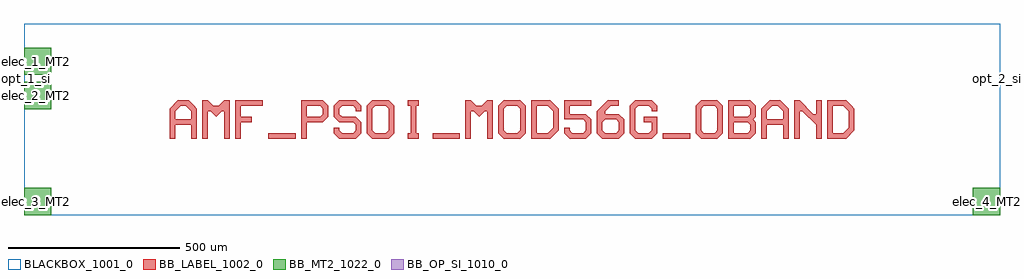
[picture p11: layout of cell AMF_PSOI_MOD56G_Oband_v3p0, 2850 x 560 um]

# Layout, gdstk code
import gdstk
lib = gdstk.Library(unit=1e-6, precision=1e-09)
def R(c, l, rs):  # rectangles x0, y0, x1, y1
    for r in rs: c.add(gdstk.rectangle(r[:2], r[2:], *l))
def P(c, l, *ps):  # polygons
    for p in ps: c.add(gdstk.Polygon(p, *l))
BLACKBOX_1001_0 = (1001, 0)
BB_LABEL_1002_0 = (1002, 0)
BB_OP_SI_1010_0 = (1010, 0)
BB_MT2_1022_0 = (1022, 0)

amf_psoi_mod56g_oband_v3 = lib.new_cell('AMF_PSOI_MOD56G_Oband_v3p0')
R(amf_psoi_mod56g_oband_v3, BLACKBOX_1001_0, [(0,-400,2850,160)])
R(amf_psoi_mod56g_oband_v3, BB_LABEL_1002_0, [(713,-176,793,-160), (1193,-176,1273,-160), (1865,-176,1945,-160)])
P(amf_psoi_mod56g_oband_v3, BB_LABEL_1002_0, [(425,-176),(425,-88),(449,-64),(481,-64),(497,-80),(457,-80),(441,-96),(441,-120),(489,-120),(489,-96),(473,-80),(497,-80),(505,-88),(505,-176),(489,-176),(489,-136),(441,-136),(441,-176)],
  [(521,-176),(521,-64),(537,-64),(553,-80),(569,-80),(585,-64),(601,-64),(601,-176),(585,-176),(585,-96),(577,-96),(561,-112),(545,-96),(537,-96),(537,-176)],
  [(617,-176),(617,-64),(697,-64),(697,-80),(633,-80),(633,-112),(665,-112),(665,-128),(633,-128),(633,-176)],
  [(809,-176),(809,-64),(873,-64),(889,-80),(889,-112),(873,-128),(825,-128),(825,-112),(865,-112),(873,-104),(873,-88),(865,-80),(825,-80),(825,-176)],
  [(921,-176),(905,-160),(905,-144),(921,-144),(921,-152),(929,-160),(961,-160),(969,-152),(969,-136),(961,-128),(921,-128),(905,-112),(905,-80),(921,-64),(969,-64),(985,-80),(985,-96),(969,-96),(969,-88),(961,-80),(929,-80),(921,-88),(921,-104),(929,-112),(969,-112),(985,-128),(985,-160),(969,-176)],
  [(1017,-176),(1001,-160),(1001,-80),(1017,-64),(1065,-64),(1081,-80),(1081,-120),(1065,-120),(1065,-88),(1057,-80),(1025,-80),(1017,-88),(1017,-152),(1025,-160),(1057,-160),(1065,-152),(1065,-120),(1081,-120),(1081,-160),(1065,-176)],
  [(1121,-176),(1121,-160),(1129,-160),(1129,-80),(1121,-80),(1121,-64),(1153,-64),(1153,-80),(1145,-80),(1145,-160),(1153,-160),(1153,-176)],
  [(1289,-176),(1289,-64),(1305,-64),(1321,-80),(1337,-80),(1353,-64),(1369,-64),(1369,-176),(1353,-176),(1353,-96),(1345,-96),(1329,-112),(1313,-96),(1305,-96),(1305,-176)],
  [(1401,-176),(1385,-160),(1385,-80),(1401,-64),(1449,-64),(1465,-80),(1465,-120),(1449,-120),(1449,-88),(1441,-80),(1409,-80),(1401,-88),(1401,-152),(1409,-160),(1441,-160),(1449,-152),(1449,-120),(1465,-120),(1465,-160),(1449,-176)],
  [(1481,-176),(1481,-64),(1537,-64),(1553,-80),(1497,-80),(1497,-160),(1529,-160),(1545,-144),(1545,-96),(1529,-80),(1553,-80),(1561,-88),(1561,-152),(1537,-176)],
  [(1593,-176),(1577,-160),(1577,-144),(1593,-144),(1593,-152),(1601,-160),(1633,-160),(1641,-152),(1641,-128),(1633,-120),(1577,-120),(1577,-64),(1657,-64),(1657,-80),(1593,-80),(1593,-104),(1641,-104),(1657,-120),(1657,-160),(1641,-176)],
  [(1689,-176),(1673,-160),(1673,-96),(1705,-64),(1737,-64),(1737,-80),(1713,-80),(1697,-96),(1697,-104),(1737,-104),(1753,-120),(1697,-120),(1689,-128),(1689,-152),(1697,-160),(1729,-160),(1737,-152),(1737,-128),(1729,-120),(1753,-120),(1753,-160),(1737,-176)],
  [(1785,-176),(1769,-160),(1769,-80),(1785,-64),(1833,-64),(1849,-80),(1849,-96),(1833,-96),(1833,-88),(1825,-80),(1793,-80),(1785,-88),(1785,-152),(1793,-160),(1825,-160),(1833,-152),(1833,-128),(1809,-128),(1809,-112),(1849,-112),(1849,-160),(1833,-176)],
  [(1977,-176),(1961,-160),(1961,-80),(1977,-64),(2025,-64),(2041,-80),(2041,-120),(2025,-120),(2025,-88),(2017,-80),(1985,-80),(1977,-88),(1977,-152),(1985,-160),(2017,-160),(2025,-152),(2025,-120),(2041,-120),(2041,-160),(2025,-176)],
  [(2057,-176),(2057,-64),(2121,-64),(2137,-80),(2073,-80),(2073,-112),(2113,-112),(2121,-104),(2121,-88),(2113,-80),(2137,-80),(2137,-112),(2129,-120),(2137,-128),(2073,-128),(2073,-160),(2113,-160),(2121,-152),(2121,-136),(2113,-128),(2137,-128),(2137,-160),(2121,-176)],
  [(2153,-176),(2153,-88),(2177,-64),(2209,-64),(2225,-80),(2185,-80),(2169,-96),(2169,-120),(2217,-120),(2217,-96),(2201,-80),(2225,-80),(2233,-88),(2233,-176),(2217,-176),(2217,-136),(2169,-136),(2169,-176)],
  [(2249,-176),(2249,-64),(2265,-64),(2305,-104),(2313,-104),(2313,-64),(2329,-64),(2329,-176),(2313,-176),(2313,-136),(2273,-96),(2265,-96),(2265,-176)],
  [(2345,-176),(2345,-64),(2401,-64),(2417,-80),(2361,-80),(2361,-160),(2393,-160),(2409,-144),(2409,-96),(2393,-80),(2417,-80),(2425,-88),(2425,-152),(2401,-176)])
R(amf_psoi_mod56g_oband_v3, BB_OP_SI_1010_0, [(0,-0.205,0.41,0.205), (2849.59,-0.205,2850,0.205)])
R(amf_psoi_mod56g_oband_v3, BB_MT2_1022_0, [(0,-400,80,-320), (2770,-400,2850,-320), (0,-90,80,-10), (0,10,80,90)])
amf_psoi_mod56g_oband_v3.add(gdstk.Label('opt_1_si', (0,0), layer=1010, texttype=0))
amf_psoi_mod56g_oband_v3.add(gdstk.Label('opt_2_si', (2850,0), layer=1010, texttype=0))
amf_psoi_mod56g_oband_v3.add(gdstk.Label('elec_1_MT2', (0,50), layer=1022, texttype=0))
amf_psoi_mod56g_oband_v3.add(gdstk.Label('elec_2_MT2', (0,-50), layer=1022, texttype=0))
amf_psoi_mod56g_oband_v3.add(gdstk.Label('elec_3_MT2', (0,-360), layer=1022, texttype=0))
amf_psoi_mod56g_oband_v3.add(gdstk.Label('elec_4_MT2', (2850,-360), layer=1022, texttype=0))

lib.write_gds('AMF_PSOI_MOD56G_Oband_v3p0.gds')
